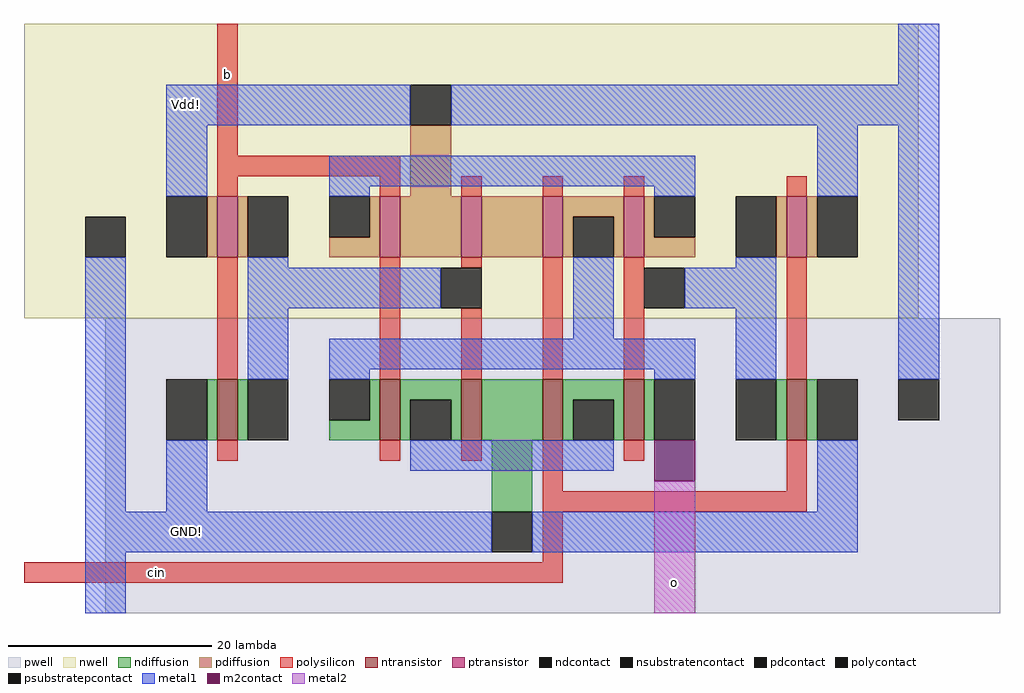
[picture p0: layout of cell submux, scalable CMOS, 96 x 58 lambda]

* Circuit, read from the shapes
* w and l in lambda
.subckt submux GND! Vdd! b cin o
M1 n1 b GND! Vdd! nfet w=6 l=2
M2 n2 b o Vdd! nfet w=6 l=2
M3 GND! n1 n2 Vdd! nfet w=6 l=2
M4 n2 cin GND! Vdd! nfet w=6 l=2
M5 o n3 n2 Vdd! nfet w=6 l=2
M6 GND! cin n3 Vdd! nfet w=6 l=2
M7 n1 b Vdd! GND! pfet w=6 l=2
M8 Vdd! b n4 GND! pfet w=6 l=2
M9 n5 n1 Vdd! GND! pfet w=6 l=2
M10 o cin n5 GND! pfet w=6 l=2
M11 n4 n3 o GND! pfet w=6 l=2
M12 Vdd! cin n3 GND! pfet w=6 l=2
.ends

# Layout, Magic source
magic
tech scmos
<< nwell >>
rect -10 -7 78 22
<< pwell >>
rect -2 -36 86 -7
<< ntransistor >>
rect 9 -19 11 -13
rect 25 -19 27 -13
rect 33 -19 35 -13
rect 41 -19 43 -13
rect 49 -19 51 -13
rect 65 -19 67 -13
<< ptransistor >>
rect 9 -1 11 5
rect 25 -1 27 5
rect 33 -1 35 5
rect 41 -1 43 5
rect 49 -1 51 5
rect 65 -1 67 5
<< ndiffusion >>
rect 8 -19 9 -13
rect 11 -19 12 -13
rect 24 -17 25 -13
rect 20 -19 25 -17
rect 27 -15 33 -13
rect 27 -19 28 -15
rect 32 -19 33 -15
rect 35 -19 41 -13
rect 43 -15 49 -13
rect 43 -19 44 -15
rect 48 -19 49 -15
rect 51 -19 52 -13
rect 64 -19 65 -13
rect 67 -19 68 -13
rect 36 -26 40 -19
<< pdiffusion >>
rect 28 5 32 12
rect 8 -1 9 5
rect 11 -1 12 5
rect 24 1 25 5
rect 20 -1 25 1
rect 27 -1 33 5
rect 35 -1 41 5
rect 43 3 49 5
rect 43 -1 44 3
rect 48 -1 49 3
rect 51 1 52 5
rect 51 -1 56 1
rect 64 -1 65 5
rect 67 -1 68 5
<< ndcontact >>
rect 4 -19 8 -13
rect 12 -19 16 -13
rect 20 -17 24 -13
rect 28 -19 32 -15
rect 44 -19 48 -15
rect 52 -19 56 -13
rect 60 -19 64 -13
rect 68 -19 72 -13
rect 36 -30 40 -26
<< pdcontact >>
rect 28 12 32 16
rect 4 -1 8 5
rect 12 -1 16 5
rect 20 1 24 5
rect 44 -1 48 3
rect 52 1 56 5
rect 60 -1 64 5
rect 68 -1 72 5
<< psubstratepcontact >>
rect 76 -17 80 -13
<< nsubstratencontact >>
rect -4 -1 0 3
<< polysilicon >>
rect 9 9 11 22
rect 9 7 27 9
rect 9 5 11 7
rect 25 5 27 7
rect 33 5 35 7
rect 41 5 43 7
rect 49 5 51 7
rect 65 5 67 7
rect 9 -13 11 -1
rect 25 -13 27 -1
rect 33 -2 35 -1
rect 33 -13 35 -6
rect 41 -13 43 -1
rect 49 -13 51 -1
rect 65 -13 67 -1
rect 9 -21 11 -19
rect 25 -21 27 -19
rect 33 -21 35 -19
rect 41 -24 43 -19
rect 49 -21 51 -19
rect 65 -24 67 -19
rect 41 -26 67 -24
rect 41 -31 43 -26
rect -10 -33 43 -31
<< polycontact >>
rect 31 -6 35 -2
rect 51 -6 55 -2
<< metal1 >>
rect 76 16 80 22
rect 4 12 28 16
rect 32 12 80 16
rect 4 5 8 12
rect 20 6 56 9
rect 20 5 24 6
rect 52 5 56 6
rect 68 5 72 12
rect -4 -26 0 -1
rect 12 -2 16 -1
rect 12 -6 31 -2
rect 12 -13 16 -6
rect 44 -9 48 -1
rect 60 -2 64 -1
rect 55 -6 64 -2
rect 20 -12 56 -9
rect 20 -13 24 -12
rect 52 -13 56 -12
rect 4 -26 8 -19
rect 28 -22 48 -19
rect 60 -13 64 -6
rect 76 -13 80 12
rect 68 -26 72 -19
rect -4 -30 36 -26
rect 40 -30 72 -26
rect -4 -36 0 -30
<< m2contact >>
rect 52 -23 56 -19
<< metal2 >>
rect 52 -36 56 -23
<< labels >>
rlabel metal1 6 -28 6 -28 3 GND!
rlabel metal1 6 14 6 14 4 Vdd!
rlabel polysilicon 10 17 10 17 5 b
rlabel polysilicon 3 -32 3 -32 2 cin
rlabel metal2 54 -33 54 -33 1 o
<< end >>
